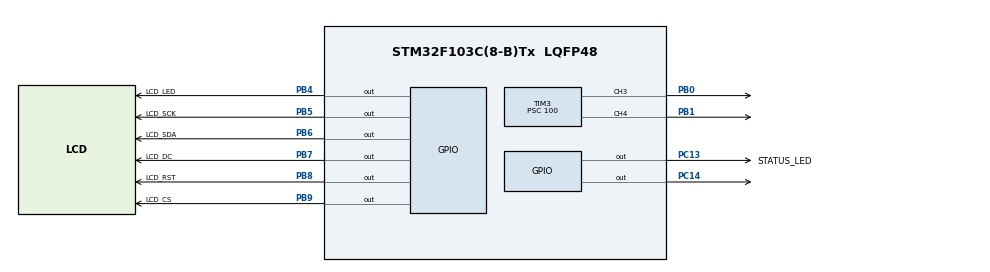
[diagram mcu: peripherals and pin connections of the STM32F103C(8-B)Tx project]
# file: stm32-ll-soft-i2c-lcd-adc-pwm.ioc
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Mcu.Family=STM32F1
VP_ADC1_TempSens_Input.Mode=IN-TempSens
PB9.GPIO_ModeDefaultOutputPP=GPIO_MODE_OUTPUT_PP
PB6.GPIO_Label=LCD_SDA
TIM3.Channel-PWM\ Generation4\ CH4=TIM_CHANNEL_4
RCC.SYSCLKSource=RCC_SYSCLKSOURCE_PLLCLK
ProjectManager.StackSize=0x800
PD1-OSC_OUT.Signal=RCC_OSC_OUT
RCC.HCLKFreq_Value=72000000
RCC.APB2TimFreq_Value=72000000
TIM3.Period=255
PB6.Signal=GPIO_Output
PB5.PinState=GPIO_PIN_RESET
FREERTOS.configMINIMAL_STACK_SIZE=256
RCC.AHBFreq_Value=72000000
ADC1.Channel-0\#ChannelRegularConversion=ADC_CHANNEL_TEMPSENSOR
RCC.PLLMUL=RCC_PLL_MUL9
PC13-TAMPER-RTC.PinState=GPIO_PIN_RESET
PB1.GPIO_Speed=GPIO_SPEED_FREQ_HIGH
PA14.Mode=Serial_Wire
TIM3.Prescaler=100
PB8.PinState=GPIO_PIN_RESET
PB7.Signal=GPIO_Output
PC13-TAMPER-RTC.GPIO_Speed=GPIO_SPEED_FREQ_LOW
VP_FREERTOS_VS_CMSIS_V1.Mode=CMSIS_V1
ADC1.SamplingTime-0\#ChannelRegularConversion=ADC_SAMPLETIME_1CYCLE_5
FREERTOS.configTOTAL_HEAP_SIZE=5680
PB7.PinState=GPIO_PIN_RESET
PB7.GPIO_Label=LCD_DC
Mcu.Package=LQFP48
PB9.Signal=GPIO_Output
PB1.Signal=S_TIM3_CH4
PC13-TAMPER-RTC.GPIO_PuPd=GPIO_NOPULL
PB6.GPIO_ModeDefaultOutputPP=GPIO_MODE_OUTPUT_PP
PB9.GPIO_PuPd=GPIO_NOPULL
PB8.GPIO_ModeDefaultOutputPP=GPIO_MODE_OUTPUT_PP
PB5.GPIO_Speed=GPIO_SPEED_FREQ_HIGH
PB9.GPIO_Speed=GPIO_SPEED_FREQ_LOW
PB5.GPIO_Label=LCD_SCK
RCC.APB1TimFreq_Value=72000000
PB4.PinState=GPIO_PIN_RESET
VP_TIM3_VS_ClockSourceINT.Mode=Internal
PB4.Signal=GPIO_Output
PB4.GPIO_ModeDefaultOutputPP=GPIO_MODE_OUTPUT_PP
PB7.GPIO_Speed=GPIO_SPEED_FREQ_LOW
PB7.GPIO_PuPd=GPIO_NOPULL
RCC.PLLSourceVirtual=RCC_PLLSOURCE_HSE
PB5.GPIO_ModeDefaultOutputPP=GPIO_MODE_OUTPUT_PP
FREERTOS.Tasks01=defaultTask,0,256,StartDefaultTask,Default,NULL,Dynamic,NULL,NULL;myTask02,-3,256,StartTask02,Default,NULL,Dynamic,NULL,NULL;myTask03,-2,256,StartTask03,Default,NULL,Dynamic,NULL,NULL;myTask04,-1,256,StartTask04,Default,NULL,Dynamic,NULL,NULL
ADC1.Rank-0\#ChannelRegularConversion=1
PD1-OSC_OUT.Mode=HSE-External-Oscillator
PB9.GPIO_Label=LCD_CS
PB6.GPIO_PuPd=GPIO_NOPULL
PB8.GPIO_PuPd=GPIO_NOPULL
PC13-TAMPER-RTC.Signal=GPIO_Output
PD0-OSC_IN.Signal=RCC_OSC_IN
RCC.APB1CLKDivider=RCC_HCLK_DIV2
PC14-OSC32_IN.Signal=GPIO_Output
SH.S_TIM3_CH3.0=TIM3_CH3,PWM Generation3 CH3
PB0.GPIO_Speed=GPIO_SPEED_FREQ_HIGH
RCC.ADCPresc=RCC_ADCPCLK2_DIV6
PA13.Signal=SYS_JTMS-SWDIO
TIM3.Channel-PWM\ Generation3\ CH3=TIM_CHANNEL_3
PB8.GPIO_Label=LCD_RST
ProjectManager.TargetToolchain=Makefile
PB4.GPIO_PuPd=GPIO_NOPULL
RCC.USBFreq_Value=72000000
PD0-OSC_IN.Mode=HSE-External-Oscillator
board=custom
PC13-TAMPER-RTC.GPIO_Label=STATUS_LED
PB4.GPIO_Speed=GPIO_SPEED_FREQ_LOW
RCC.APB2Freq_Value=72000000
PB4.GPIO_Label=LCD_LED
PB7.GPIO_ModeDefaultOutputPP=GPIO_MODE_OUTPUT_PP
PA13.Mode=Serial_Wire
Mcu.Name=STM32F103C(8-B)Tx
RCC.SYSCLKFreq_VALUE=72000000
PB5.Signal=GPIO_Output
PC13-TAMPER-RTC.GPIO_ModeDefaultOutputPP=GPIO_MODE_OUTPUT_PP
ADC1.master=1
PB5.GPIO_PuPd=GPIO_NOPULL
PB9.PinState=GPIO_PIN_RESET
PB6.PinState=GPIO_PIN_RESET
PA14.Signal=SYS_JTCK-SWCLK
ProjectManager.HeapSize=0x1000
NVIC.PriorityGroup=NVIC_PRIORITYGROUP_4
ADC1.NbrOfConversionFlag=1
PB8.Signal=GPIO_Output
PB6.GPIO_Speed=GPIO_SPEED_FREQ_HIGH
RCC.APB1Freq_Value=36000000
PB8.GPIO_Speed=GPIO_SPEED_FREQ_LOW
PB0.Signal=S_TIM3_CH3
SH.S_TIM3_CH4.0=TIM3_CH4,PWM Generation4 CH4

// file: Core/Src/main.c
/* USER CODE BEGIN Header */
/**
  ******************************************************************************
  * @file           : main.c
  * @brief          : Main program body
  ******************************************************************************
  * @attention
  *
  * <h2><center>&copy; Copyright (c) 2019 STMicroelectronics.
  * All rights reserved.</center></h2>
  *
  * This software component is licensed by ST under BSD 3-Clause license,
  * the "License"; You may not use this file except in compliance with the
  * License. You may obtain a copy of the License at:
  *                        opensource.org/licenses/BSD-3-Clause
  *
  ******************************************************************************
  */
/* USER CODE END Header */
#include "main.h"
#include "cmsis_os.h"
#include "adc.h"
#include "tim.h"
#include "gpio.h"

/* USER CODE BEGIN Includes */
#include "adc_cfg.h"
#include <math.h>
//#include <stdlib.h>
// #include "ILI9341.h"
#include "soft_lcd.h"
#include "soft_adc.h"
#include "soft_ina219.h"
#include "soft_pcf8591.h"

#include "pins_ext.h"

#define m_PI 3.14159

uint32_t adcResult = 0;
uint32_t max_result = 0;
float real_result[320] = {0};

uint16_t adc_counter = 0;
uint16_t i = 0;

uint32_t tim_counter = 0;

lcd_t *lcd; // pointer to i2c object, for lcd module
adc_t *adc; // pointer to i2c object, for ads1115
ina_t *ina; // pointer to i2c object, for ina219
pcf8591_t *pcf8591; // pointer to i2c object, for pcf8591

void stled_off(void)
{
  LL_GPIO_SetOutputPin(STATUS_LED_GPIO_Port, STATUS_LED_Pin);
}

void stled_on(void)
{
  LL_GPIO_ResetOutputPin(STATUS_LED_GPIO_Port, STATUS_LED_Pin);
}

/* USER CODE END Includes */

/* USER CODE BEGIN PV */
/* Private variables ---------------------------------------------------------*/

/* USER CODE END PV */

void SystemClock_Config(void);
void MX_FREERTOS_Init(void);
/* USER CODE BEGIN PFP */
/* Private function prototypes -----------------------------------------------*/

void i2c_lcd_bus(void);
void i2c_ads1115_bus(void);
void i2c_ina219_bus(void);

/*!
** the callback function from TIM4_IRQHandler
** period the tick timer one clock makes 10 mksec
**/

/*!
** the create i2c objects
**/
void i2c_ads1115_bus(void)
{
  #define adc_address 0x48
  #define adc_scl LL_GPIO_PIN_1
  #define adc_sda LL_GPIO_PIN_0

  adc = ads1115_create(GPIOB, adc_scl, adc_sda, adc_address);
}

/*!
** the create i2c objects
**/
void i2c_ina219_bus(void)
{
  #define ina_address 0x40
  #define ina_scl LL_GPIO_PIN_5
  #define ina_sda LL_GPIO_PIN_4

  ina = ina219_create(GPIOB, ina_scl, ina_sda, ina_address);
}

/*!
** the create i2c objects
**/
void i2c_pcf8591_bus(void)
{
  #define pcf8591_address 0x48
  #define pcf8591_scl LL_GPIO_PIN_7
  #define pcf8591_sda LL_GPIO_PIN_6

  pcf8591 = pcf8591_create(GPIOB, pcf8591_scl, pcf8591_sda, pcf8591_address);
}

/*!
** the create i2c objects
**/
void i2c_lcd_bus(void)
{
  #define i2c_lcd_address 0x3f
  #define lcd_scl LL_GPIO_PIN_8
  #define lcd_sda LL_GPIO_PIN_9

  lcd = lcd_create(GPIOB, lcd_scl, lcd_sda, i2c_lcd_address, 4);
}

/*!
** the runnind measure and show result
**/
void show_ina219(lcd_t *lcd, ina_t *ina)
{
  float shuntvoltage = 0;
  float busvoltage = 0;
  float current_mA = 0;
  float power_mW = 0;

  shuntvoltage = ina219_getShuntVoltage_mV(ina);
  busvoltage = ina219_getBusVoltage_V(ina);
  current_mA = ina219_getCurrent_mA(ina);
  power_mW = ina219_getPower_mW(ina);

  lcd_pos(lcd, 0,6); lcd_print(lcd, "ShuntV"); lcd_pos(lcd, 0,14);lcd_printdigit(lcd, shuntvoltage);
  lcd_pos(lcd, 1,6); lcd_print(lcd, "Bus  V"); lcd_pos(lcd, 1,14);lcd_printdigit(lcd, busvoltage);
  lcd_pos(lcd, 2,6); lcd_print(lcd, "cur mA"); lcd_pos(lcd, 2,14);lcd_printdigit(lcd, current_mA);
  lcd_pos(lcd, 3,6); lcd_print(lcd, "pwr mW"); lcd_pos(lcd, 3,14);lcd_printdigit(lcd, power_mW);
}

/*!
** the runnind measure and show result
**/
void show_ads1115(lcd_t *lcd, adc_t *adc)
{
  uint16_t val = 0;
  const float VPS = 6.144 / 32768.0;  // volts per step

  float measure_1;
  float measure_2;

  ads1115_set_single_channal(adc, 3);
  val = ads1115_get(adc);

  uint8_t gain = 1;
  uint8_t diff_in = 1;
  ads1115_set_diff_channal(adc, diff_in, gain);
  measure_1 = get_diff_measure(adc, gain);

  gain = 1;
  diff_in = 2;
  ads1115_set_diff_channal(adc, diff_in, gain);
  measure_2 = get_diff_measure(adc, gain);

  lcd_pos(lcd, 0,0); lcd_printdigit(lcd, val*VPS);
  lcd_pos(lcd, 1,0); lcd_printdigit(lcd, measure_1);
  lcd_pos(lcd, 2,0); lcd_printdigit(lcd, measure_2);
}

/* USER CODE END PFP */

int main(void)
{
  /* USER CODE BEGIN 1 */
  // pin_out(GPIOA, LL_GPIO_PIN_9);
  // pin_out(GPIOA, LL_GPIO_PIN_10);

  /* USER CODE END 1 */

  /* MCU Configuration--------------------------------------------------------*/

  /* Reset of all peripherals, Initializes the Flash interface and the Systick. */

  LL_APB2_GRP1_EnableClock(LL_APB2_GRP1_PERIPH_AFIO);
  LL_APB1_GRP1_EnableClock(LL_APB1_GRP1_PERIPH_PWR);

  NVIC_SetPriorityGrouping(NVIC_PRIORITYGROUP_4);

  /* System interrupt init*/
  /* PendSV_IRQn interrupt configuration */
  NVIC_SetPriority(PendSV_IRQn, NVIC_EncodePriority(NVIC_GetPriorityGrouping(),15, 0));
  /* SysTick_IRQn interrupt configuration */
  NVIC_SetPriority(SysTick_IRQn, NVIC_EncodePriority(NVIC_GetPriorityGrouping(),15, 0));

  /** NOJTAG: JTAG-DP Disabled and SW-DP Enabled
  */
  LL_GPIO_AF_Remap_SWJ_NOJTAG();

  /* Configure the system clock */
  SystemClock_Config();

  /* Initialize all configured peripherals */
  MX_GPIO_Init();
  MX_TIM3_Init();
  MX_ADC1_Init();
  /* USER CODE BEGIN 2 */

  LL_TIM_CC_EnableChannel(TIM3, LL_TIM_CHANNEL_CH3 | LL_TIM_CHANNEL_CH4);
  LL_TIM_EnableCounter(TIM3);

  ADC_Init(ADC1);

  stled_off();

  /**
   * @uncomment active:
   */
  i2c_lcd_bus();
  lcd_pos(lcd, 0,6); lcd_print(lcd, "test");
  // i2c_ads1115_bus();
  // i2c_ina219_bus();
  // i2c_pcf8591_bus();

  // LL_TIM_CC_EnableChannel(TIM1, LL_TIM_CHANNEL_CH2 | LL_TIM_CHANNEL_CH3);  LL_TIM_EnableCounter(TIM1);
  // LL_TIM_CC_EnableChannel(TIM2, LL_TIM_CHANNEL_CH3 | LL_TIM_CHANNEL_CH4);  LL_TIM_EnableCounter(TIM2);
  // LL_TIM_CC_EnableChannel(TIM3, LL_TIM_CHANNEL_CH3 | LL_TIM_CHANNEL_CH4);  LL_TIM_EnableCounter(TIM3);

  /* USER CODE END 2 */

  /* Call init function for freertos objects (in freertos.c) */
  MX_FREERTOS_Init();
  /* Start scheduler */
  osKernelStart();

  /* We should never get here as control is now taken by the scheduler */
  /* Infinite loop */
  /* USER CODE BEGIN WHILE */

  // HAL_TIM_Base_Init(&htim3);
  // HAL_TIM_PeriodElapsedCallback(&htim3);
  // HAL_TIM_Base_Start_IT(&htim3); //запустим таймер

  // HAL_TIM_Base_Init(&htim4);
  // HAL_TIM_Base_Start_IT(&htim4); //запустим таймер

  for(uint8_t i=0;i<31;i++)
  {
    LL_GPIO_TogglePin(STATUS_LED_GPIO_Port, STATUS_LED_Pin);
    LL_mDelay(25);
  }

  while (1)
  {
    /* USER CODE END WHILE */

    /* USER CODE BEGIN 3 */
    for(uint16_t i = 0; i < 320; i++) // measurement and display redraw
    {
      LL_mDelay(1);
    }
  }
  /* USER CODE END 3 */
}

void SystemClock_Config(void)
{
  LL_FLASH_SetLatency(LL_FLASH_LATENCY_2);
  while(LL_FLASH_GetLatency()!= LL_FLASH_LATENCY_2)
  {
  }
  LL_RCC_HSE_Enable();

   /* Wait till HSE is ready */
  while(LL_RCC_HSE_IsReady() != 1)
  {

  }
  LL_RCC_PLL_ConfigDomain_SYS(LL_RCC_PLLSOURCE_HSE_DIV_1, LL_RCC_PLL_MUL_9);
  LL_RCC_PLL_Enable();

   /* Wait till PLL is ready */
  while(LL_RCC_PLL_IsReady() != 1)
  {

  }
  LL_RCC_SetAHBPrescaler(LL_RCC_SYSCLK_DIV_1);
  LL_RCC_SetAPB1Prescaler(LL_RCC_APB1_DIV_2);
  LL_RCC_SetAPB2Prescaler(LL_RCC_APB2_DIV_1);
  LL_RCC_SetSysClkSource(LL_RCC_SYS_CLKSOURCE_PLL);

   /* Wait till System clock is ready */
  while(LL_RCC_GetSysClkSource() != LL_RCC_SYS_CLKSOURCE_STATUS_PLL)
  {

  }
  LL_Init1msTick(72000000);
  LL_SetSystemCoreClock(72000000);
  LL_RCC_SetADCClockSource(LL_RCC_ADC_CLKSRC_PCLK2_DIV_6);
}

void Error_Handler(void)
{
}

/************************ (C) COPYRIGHT STMicroelectronics *****END OF FILE****/

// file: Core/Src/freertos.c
/* USER CODE BEGIN Header */
/**
  ******************************************************************************
  * File Name          : freertos.c
  * Description        : Code for freertos applications
  ******************************************************************************
  * @attention
  *
  * <h2><center>&copy; Copyright (c) 2019 STMicroelectronics.
  * All rights reserved.</center></h2>
  *
  * This software component is licensed by ST under Ultimate Liberty license
  * SLA0044, the "License"; You may not use this file except in compliance with
  * the License. You may obtain a copy of the License at:
  *                             www.st.com/SLA0044
  *
  ******************************************************************************
  */
/* USER CODE END Header */

#include "FreeRTOS.h"
#include "task.h"
#include "main.h"
#include "cmsis_os.h"

/* USER CODE BEGIN Includes */
#include "ILI9341.h"
#include "adc_cfg.h"
#include "task_os.h"

/* USER CODE END Includes */

osThreadId defaultTaskHandle;
osThreadId myTask02Handle;
osThreadId myTask03Handle;
osThreadId myTask04Handle;

void StartDefaultTask(void const * argument);
void StartTask02(void const * argument);
void StartTask03(void const * argument);
void StartTask04(void const * argument);

void MX_FREERTOS_Init(void); /* (MISRA C 2004 rule 8.1) */

/* GetIdleTaskMemory prototype (linked to static allocation support) */
void vApplicationGetIdleTaskMemory( StaticTask_t **ppxIdleTaskTCBBuffer, StackType_t **ppxIdleTaskStackBuffer, uint32_t *pulIdleTaskStackSize );

/* USER CODE BEGIN GET_IDLE_TASK_MEMORY */
static StaticTask_t xIdleTaskTCBBuffer;
static StackType_t xIdleStack[configMINIMAL_STACK_SIZE];

void vApplicationGetIdleTaskMemory( StaticTask_t **ppxIdleTaskTCBBuffer, StackType_t **ppxIdleTaskStackBuffer, uint32_t *pulIdleTaskStackSize )
{
  *ppxIdleTaskTCBBuffer = &xIdleTaskTCBBuffer;
  *ppxIdleTaskStackBuffer = &xIdleStack[0];
  *pulIdleTaskStackSize = configMINIMAL_STACK_SIZE;
  /* place for user code */
}
/* USER CODE END GET_IDLE_TASK_MEMORY */

void MX_FREERTOS_Init(void) {

  /* Create the thread(s) */
  /* definition and creation of defaultTask */
  osThreadDef(defaultTask, StartDefaultTask, osPriorityNormal, 0, 256);
  defaultTaskHandle = osThreadCreate(osThread(defaultTask), NULL);

  /* definition and creation of myTask02 */
  osThreadDef(myTask02, StartTask02, osPriorityIdle, 0, 256);
  myTask02Handle = osThreadCreate(osThread(myTask02), NULL);

  /* definition and creation of myTask03 */
  osThreadDef(myTask03, StartTask03, osPriorityLow, 0, 256);
  myTask03Handle = osThreadCreate(osThread(myTask03), NULL);

  /* definition and creation of myTask04 */
  osThreadDef(myTask04, StartTask04, osPriorityBelowNormal, 0, 256);
  myTask04Handle = osThreadCreate(osThread(myTask04), NULL);

}

void StartDefaultTask(void const * argument)
{
  /* USER CODE BEGIN StartDefaultTask */
  /* Infinite loop */
  for(;;)
  {
    osDelay(20);
    DefaultTask(argument);
  }
  /* USER CODE END StartDefaultTask */
}

void StartTask02(void const * argument)
{
  /* USER CODE BEGIN StartTask02 */
  /* Infinite loop */
  for(;;)
  {
    osDelay(100);
    Task02(argument);
  }
  /* USER CODE END StartTask02 */
}

void StartTask03(void const * argument)
{
  /* USER CODE BEGIN StartTask03 */
  /* Infinite loop */
  for(;;)
  {
    osDelay(25);
    Task03(argument);
  }
  /* USER CODE END StartTask03 */
}

void StartTask04(void const * argument)
{
  /* USER CODE BEGIN StartTask04 */
  /* Infinite loop */
  for(;;)
  {
    osDelay(25);
    Task04(argument);
  }
  /* USER CODE END StartTask04 */
}

/************************ (C) COPYRIGHT STMicroelectronics *****END OF FILE****/
